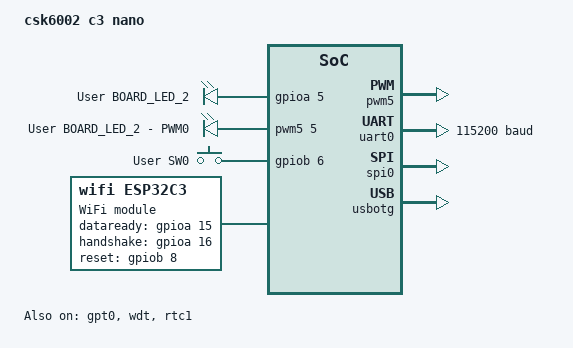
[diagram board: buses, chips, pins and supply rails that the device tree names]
/* SPDX-License-Identifier: Apache-2.0 */

/dts-v1/;
#include <csk/csk6001.dtsi>
#include <dt-bindings/pwm/pwm.h>
#include "csk6_psram_flash.dtsi"
#include "csk6002_c3_nano_pinctrl.dtsi"

/ {
        model = "csk6002 c3 nano";
        compatible = "csk,csk6002_c3_nano";
        aliases {
                led0 = &board_led_2;
                sw0 = &user_button_0;
                pwm-led0 = &green_pwm_led;
                i2c-0 = &i2c0;
                i2c-1 = &i2c1;
        };

        chosen {
                zephyr,console = &uart0;
                zephyr,shell-uart = &uart0;
                zephyr,sram = &sram0;
                zephyr,itcm = &itcm0;
                zephyr,flash = &flash0;
                zephyr,code-partition = &slot0_partition;
                /* other chosen settings  for your hardware */
        };

        leds {
                compatible = "gpio-leds";
                board_led_2: board_led_2 {
                        gpios = <&gpioa 5 0>;
                        label = "User BOARD_LED_2";
                };
        };

        pwmleds {
		compatible = "pwm-leds";
		green_pwm_led: green_pwm_led {
			pwms = <&pwm5 5 PWM_POLARITY_NORMAL>;
			label = "User BOARD_LED_2 - PWM0";
		};

	};

        gpio_keys {
                compatible = "gpio-keys";
                user_button_0: button_0 {
                        label = "User SW0";
                        gpios = <&gpiob 6 0>;
                };
        };

        wifi_module: esp32c3 {
                compatible = "wifi,esp32c3";
                label = "WiFi module";
                spi_port = <0>;
                dataready-gpios = <&gpioa 15 0>;
                handshake-gpios = <&gpioa 16 0>;
                reset-gpios = <&gpiob 8 0>;
                status = "okay";
        };

        /*
         * Your board-specific hardware: buttons, LEDs, sensors, etc.
         */
};

&gpt0 {
	status = "okay";

	pwm5: pwm5 {
                clock-prescaler = <128>;
                status = "okay";
	};

};

&gpioa {
        status = "okay";
};

&gpiob {
        status = "okay";
};

&wdt {
        status = "okay";
};

&pwm5 {
        pinctrl-0 = <&pinctrl_pwm5_default>; 
        pinctrl-names = "default";
        status = "okay";
};

&uart0 {
        pinctrl-0 = <&pinctrl_uart0_rx_default &pinctrl_uart0_tx_default>; 
        pinctrl-names = "default";
        current-speed = <115200>;
        status = "okay";
};

&uart1 {
        status = "disabled";
};

&uart2 {
        status = "disabled";
};

&spi0 {
        pinctrl-0 = <&pinctrl_spi0_sclk_default &pinctrl_spi0_mosi_default &pinctrl_spi0_miso_default &pinctrl_spi0_cs_default>; 
        pinctrl-names = "default";
        status = "okay";
};

&spi1 {
        status = "disabled";
};

&i2c0 {
        status = "disabled";
};

&i2c1 {
        status = "disabled";
};

&board_led_2 {
        status = "okay";
};

&mailbox0 {
	status = "okay";
};

&dma0 {
	dma-channels = <6>;
	status = "okay";
};

&rtc1 {
        status = "okay";
};

zephyr_udc0: &usbotg {
        status = "okay";
        num-bidir-endpoints = <6>;
        num-in-endpoints = <6>;
        num-out-endpoints = <6>;
};

